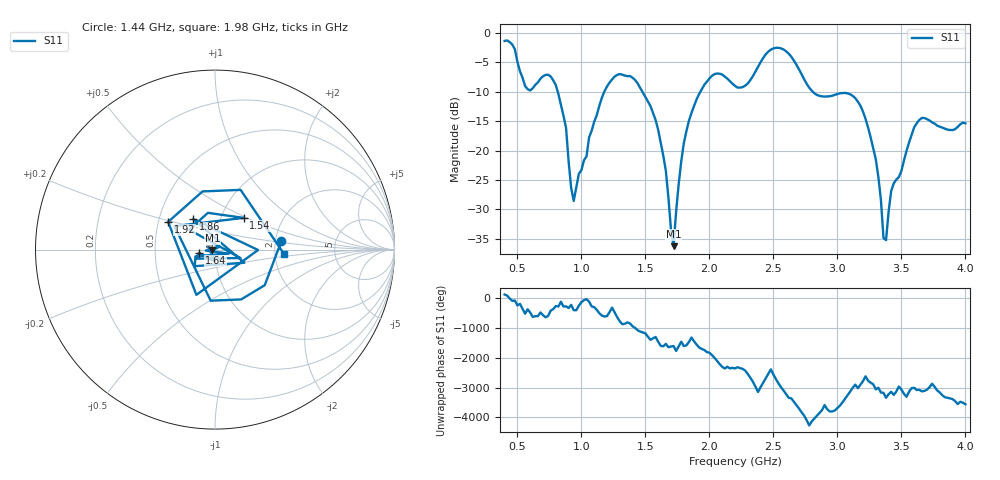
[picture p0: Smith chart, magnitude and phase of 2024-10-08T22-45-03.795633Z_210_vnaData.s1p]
! Created with skrf (http://scikit-rf.org).
# Hz S RI R 50.0
!freq ReS11 ImS11
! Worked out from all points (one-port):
!   181 points, 400 MHz to 4 GHz, reference 50 ohm
!   lowest |S11| = -36.3 dB at 1.72 GHz (marker M1), VSWR 1.03, Z = 48.6 - j0.485 ohm
!   |S11| at or under -10 dB: 815.2 MHz to 1.179 GHz (363.4 MHz wide, 36.5 % of centre); 1.478 GHz to 1.929 GHz (451.4 MHz wide, 26.5 % of centre); 2.808 GHz to end of sweep
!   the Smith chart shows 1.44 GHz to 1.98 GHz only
!   S11 on the Smith chart (normalised r, x): 1.44 GHz: 2.15, +0.23; 1.54 GHz: 1.28, +0.48; 1.64 GHz: 0.84, -0.03; 1.86 GHz: 0.74, +0.26; 1.92 GHz: 0.56, +0.19; 1.98 GHz: 2.25, -0.13
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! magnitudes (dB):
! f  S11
! 400 MHz  -1.3
! 580 MHz  -9.5
! 760 MHz  -7.4
! 860 MHz  -14.1
! 940 MHz  -28.6
! 1.16 GHz  -11.0
! 1.3 GHz  -7.0
! 1.44 GHz  -8.6
! 1.54 GHz  -12.4
! 1.64 GHz  -20.9
! 1.72 GHz  -36.3
! 1.76 GHz  -25.7
! 1.86 GHz  -13.6
! 1.92 GHz  -10.4
! 1.98 GHz  -8.3
! 2.2 GHz  -9.0
! 2.5 GHz  -2.6
! 2.66 GHz  -4.7
! 2.84 GHz  -10.5
! 3.1 GHz  -10.4
! 3.26 GHz  -17.8
! 3.32 GHz  -24.5
! 3.36 GHz  -34.9
! 3.38 GHz  -35.3
! 3.42 GHz  -26.9
! 3.56 GHz  -18.6
! 3.66 GHz  -14.5
! 4 GHz  -15.4
